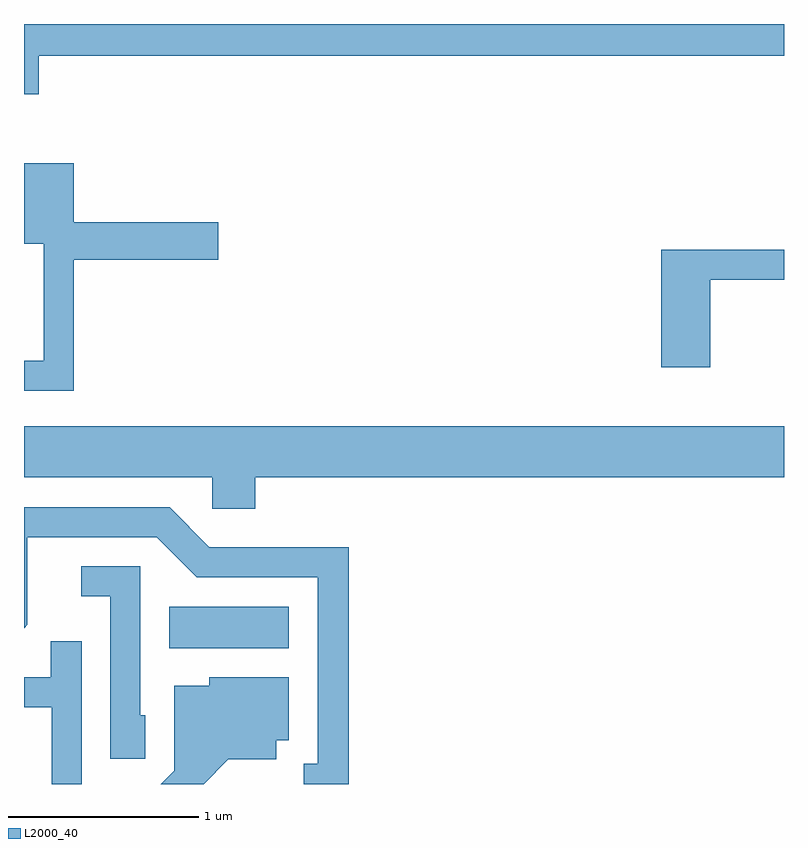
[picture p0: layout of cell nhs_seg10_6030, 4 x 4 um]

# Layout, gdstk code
import gdstk
lib = gdstk.Library(unit=1e-6, precision=1e-09)
def R(c, l, rs):  # rectangles x0, y0, x1, y1
    for r in rs: c.add(gdstk.rectangle(r[:2], r[2:], *l))
def P(c, l, *ps):  # polygons
    for p in ps: c.add(gdstk.Polygon(p, *l))
L2000_40 = (2000, 40)

nhs_seg10_6030 = lib.new_cell('nhs_seg10_6030')
R(nhs_seg10_6030, L2000_40, [(364.376,2115.236,365.004,2115.454)])
P(nhs_seg10_6030, L2000_40, [(363.689,2118.356),(367.611,2118.356),(367.611,2118.522),(363.611,2118.522),(363.611,2118.151),(363.689,2118.151)],
  [(363.874,2117.281),(364.634,2117.281),(364.634,2117.479),(363.874,2117.479),(363.874,2117.789),(363.611,2117.789),(363.611,2117.366),(363.716,2117.366),(363.716,2116.749),(363.611,2116.749),(363.611,2116.591),(363.874,2116.591)],
  [(367.224,2117.176),(367.611,2117.176),(367.611,2117.334),(366.966,2117.334),(366.966,2116.716),(367.224,2116.716)],
  [(364.829,2116.136),(367.611,2116.136),(367.611,2116.404),(363.611,2116.404),(363.611,2116.136),(364.601,2116.136),(364.601,2115.971),(364.829,2115.971)],
  [(365.319,2115.769),(364.587,2115.769),(364.377,2115.979),(363.611,2115.979),(363.611,2115.341),(363.629,2115.359),(363.629,2115.821),(364.309,2115.821),(364.519,2115.611),(365.156,2115.611),(365.156,2114.629),(365.083,2114.629),(365.083,2114.522),(365.319,2114.522)],
  [(364.249,2114.884),(364.224,2114.884),(364.224,2115.669),(363.913,2115.669),(363.913,2115.511),(364.066,2115.511),(364.066,2114.656),(364.249,2114.656)],
  [(363.914,2115.273),(363.751,2115.273),(363.751,2115.084),(363.611,2115.084),(363.611,2114.926),(363.756,2114.926),(363.756,2114.522),(363.914,2114.522)],
  [(364.687,2114.651),(364.939,2114.651),(364.939,2114.751),(365.004,2114.751),(365.004,2115.084),(364.586,2115.084),(364.586,2115.039),(364.401,2115.039),(364.401,2114.592),(364.332,2114.522),(364.558,2114.522)])

lib.write_gds('nhs_seg10_6030.gds')
